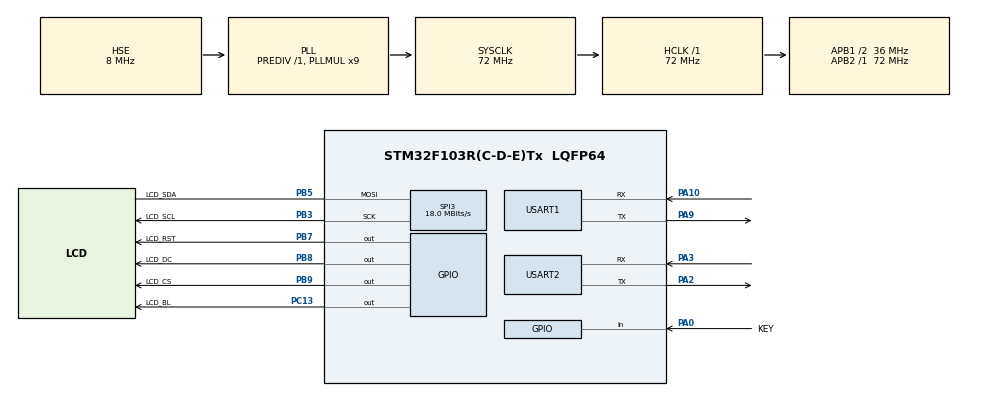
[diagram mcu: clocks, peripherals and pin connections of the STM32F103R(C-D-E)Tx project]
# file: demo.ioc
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Mcu.Family=STM32F1
Mcu.Name=STM32F103R(C-D-E)Tx
Mcu.Package=LQFP64
NVIC.PriorityGroup=NVIC_PRIORITYGROUP_4
NVIC.USART1_IRQn=true\:0\:0\:false\:false\:true\:true\:true\:true
PA0-WKUP.GPIO_Label=KEY
PA0-WKUP.GPIO_PuPd=GPIO_PULLDOWN
PA0-WKUP.Signal=GPIO_Input
PA10.Mode=Asynchronous
PA10.Signal=USART1_RX
PA13.Mode=Serial_Wire
PA13.Signal=SYS_JTMS-SWDIO
PA14.Mode=Serial_Wire
PA14.Signal=SYS_JTCK-SWCLK
PA2.Mode=Asynchronous
PA2.Signal=USART2_TX
PA3.Mode=Asynchronous
PA3.Signal=USART2_RX
PA9.Mode=Asynchronous
PA9.Signal=USART1_TX
PB3.GPIO_Label=LCD_SCL
PB3.Mode=Simplex_Bidirectional_Master
PB3.Signal=SPI3_SCK
PB5.GPIO_Label=LCD_SDA
PB5.Mode=Simplex_Bidirectional_Master
PB5.Signal=SPI3_MOSI
PB7.GPIO_Label=LCD_RST
PB7.GPIO_Speed=GPIO_SPEED_FREQ_HIGH
PB7.Signal=GPIO_Output
PB8.GPIO_Label=LCD_DC
PB8.GPIO_Speed=GPIO_SPEED_FREQ_HIGH
PB8.Signal=GPIO_Output
PB9.GPIO_Label=LCD_CS
PB9.GPIO_Speed=GPIO_SPEED_FREQ_HIGH
PB9.Signal=GPIO_Output
PC13-TAMPER-RTC.GPIO_Label=LCD_BL
PC13-TAMPER-RTC.GPIO_Speed=GPIO_SPEED_FREQ_HIGH
PC13-TAMPER-RTC.Signal=GPIO_Output
PD0-OSC_IN.Mode=HSE-External-Oscillator
PD0-OSC_IN.Signal=RCC_OSC_IN
PD1-OSC_OUT.Mode=HSE-External-Oscillator
PD1-OSC_OUT.Signal=RCC_OSC_OUT
ProjectManager.HeapSize=0x800
ProjectManager.StackSize=0x800
ProjectManager.TargetToolchain=MDK-ARM V5
RCC.AHBFreq_Value=72000000
RCC.APB1CLKDivider=RCC_HCLK_DIV2
RCC.APB1Freq_Value=36000000
RCC.APB1TimFreq_Value=72000000
RCC.APB2Freq_Value=72000000
RCC.APB2TimFreq_Value=72000000
RCC.HCLKFreq_Value=72000000
RCC.PLLMUL=RCC_PLL_MUL9
RCC.PLLSourceVirtual=RCC_PLLSOURCE_HSE
RCC.SYSCLKFreq_VALUE=72000000
RCC.SYSCLKSource=RCC_SYSCLKSOURCE_PLLCLK
RCC.USBFreq_Value=72000000
SPI3.CLKPolarity=SPI_POLARITY_LOW
SPI3.CalculateBaudRate=18.0 MBits/s
SPI3.Direction=SPI_DIRECTION_1LINE
SPI3.Mode=SPI_MODE_MASTER
SPI3.VirtualType=VM_MASTER
USART1.VirtualMode=VM_ASYNC
USART2.VirtualMode=VM_ASYNC
board=custom

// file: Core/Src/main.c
/* USER CODE BEGIN Header */
/**
 ******************************************************************************
 * @file           : main.c
 * @brief          : Main program body
 ******************************************************************************
 * @attention
 *
 * <h2><center>&copy; Copyright (c) 2022 STMicroelectronics.
 * All rights reserved.</center></h2>
 *
 * This software component is licensed by ST under BSD 3-Clause license,
 * the "License"; You may not use this file except in compliance with the
 * License. You may obtain a copy of the License at:
 *                        opensource.org/licenses/BSD-3-Clause
 *
 ******************************************************************************
 */
/* USER CODE END Header */
#include "main.h"
#include "spi.h"
#include "usart.h"
#include "gpio.h"

/* USER CODE BEGIN Includes */
#include "st7735/st7735.h"
/* USER CODE END Includes */

void SystemClock_Config(void);

/* USER CODE BEGIN 0 */

struct DISPLAY_DRIVER {
    void (*draw_pixel)(int x, int y, uint32_t rgb);
    void (*fill_rect)(int x0, int y0, int x1, int y1, uint32_t rgb);
} driver;

extern void startHello3Dwave(void* phy_fb, int color_bytes, struct DISPLAY_DRIVER* driver);

// Transfer GuiLite 32 bits color to your LCD color
#define rgb_32to16(rgb) ((rgb & 0xFF) >> 3) | ((rgb & 0xFC00) >> 5) | ((rgb & 0xF80000) >> 8)

// interface
void gfx_draw_pixel(int x, int y, uint32_t rgb) { st7735_draw_pixel(x, y, rgb_32to16(rgb)); }
void gfx_fill_rect(int x0, int y0, int x1, int y1, uint32_t rgb)
{
    if (x1 < x0 || y1 < y0) return;
    st7735_fill_rect(x0, y0, x1 - x0 + 1, y1 - y0 + 1, rgb_32to16(rgb));
}

/* USER CODE END 0 */

int main(void)
{

    /* MCU Configuration--------------------------------------------------------*/

    /* Reset of all peripherals, Initializes the Flash interface and the Systick. */
    HAL_Init();

    /* Configure the system clock */
    SystemClock_Config();

    /* Initialize all configured peripherals */
    MX_GPIO_Init();
    MX_USART1_UART_Init();
    MX_USART2_UART_Init();
    MX_SPI3_Init();
    /* USER CODE BEGIN 2 */

    st7735_init();
    st7735_backlight_on();

    driver.draw_pixel = gfx_draw_pixel;
    driver.fill_rect  = gfx_fill_rect;
    startHello3Dwave(NULL, 2, &driver);

    /* USER CODE END 2 */

    /* Infinite loop */
    while (1) {

    }
}

void SystemClock_Config(void)
{
    RCC_OscInitTypeDef RCC_OscInitStruct = {0};
    RCC_ClkInitTypeDef RCC_ClkInitStruct = {0};

    /** Initializes the RCC Oscillators according to the specified parameters
     * in the RCC_OscInitTypeDef structure.
     */
    RCC_OscInitStruct.OscillatorType = RCC_OSCILLATORTYPE_HSE;
    RCC_OscInitStruct.HSEState       = RCC_HSE_ON;
    RCC_OscInitStruct.HSEPredivValue = RCC_HSE_PREDIV_DIV1;
    RCC_OscInitStruct.HSIState       = RCC_HSI_ON;
    RCC_OscInitStruct.PLL.PLLState   = RCC_PLL_ON;
    RCC_OscInitStruct.PLL.PLLSource  = RCC_PLLSOURCE_HSE;
    RCC_OscInitStruct.PLL.PLLMUL     = RCC_PLL_MUL9;
    if (HAL_RCC_OscConfig(&RCC_OscInitStruct) != HAL_OK) {
        Error_Handler();
    }

    /** Initializes the CPU, AHB and APB buses clocks
     */
    RCC_ClkInitStruct.ClockType      = RCC_CLOCKTYPE_HCLK | RCC_CLOCKTYPE_SYSCLK | RCC_CLOCKTYPE_PCLK1 | RCC_CLOCKTYPE_PCLK2;
    RCC_ClkInitStruct.SYSCLKSource   = RCC_SYSCLKSOURCE_PLLCLK;
    RCC_ClkInitStruct.AHBCLKDivider  = RCC_SYSCLK_DIV1;
    RCC_ClkInitStruct.APB1CLKDivider = RCC_HCLK_DIV2;
    RCC_ClkInitStruct.APB2CLKDivider = RCC_HCLK_DIV1;

    if (HAL_RCC_ClockConfig(&RCC_ClkInitStruct, FLASH_LATENCY_2) != HAL_OK) {
        Error_Handler();
    }
}

void Error_Handler(void)
{
}
